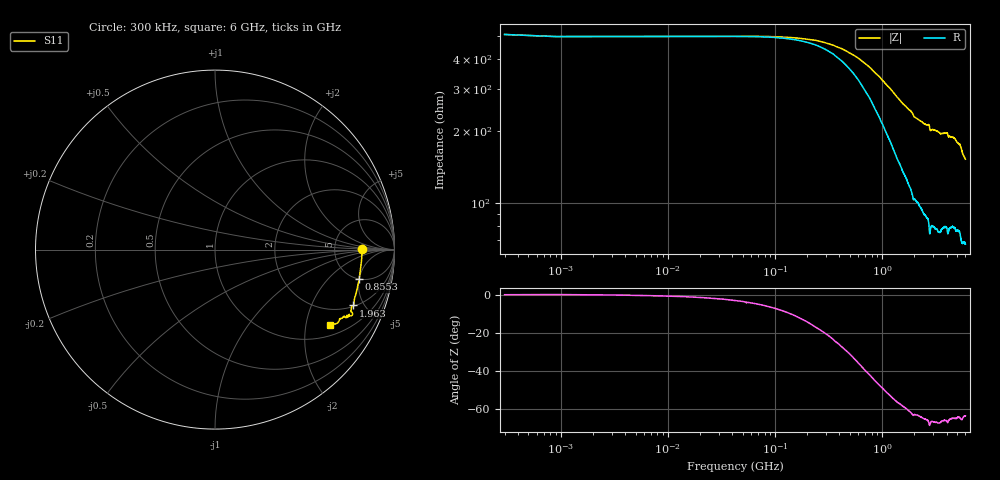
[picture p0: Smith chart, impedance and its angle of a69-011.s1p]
!  3/12/2021  06:13:34
! Ref Plane: 23.990 mm
# MHZ S MA R  50
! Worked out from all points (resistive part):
!   10001 points, 300 kHz to 6 GHz, reference 50 ohm
!   read as one part to ground: R = 499 ohm at 30.3 MHz
!   S11 on the Smith chart (normalised r, x): 300 kHz: 10, +0; 855.3 MHz: 4.97, -4.99; 1.963 GHz: 2.07, -4.16; 6 GHz: 1.34, -2.73
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0.3  0.8208 0.0
750.2625  0.8196 -10.3
855.2573  0.8196 -11.6
1104.245  0.821 -14.4
1500.225  0.8224 -18.2
1962.802  0.8307 -22.0
2017.399  0.8257 -22.3
2250.188  0.827 -23.2
2583.171  0.8308 -24.4
2697.765  0.8355 -24.6
2757.162  0.8459 -25.0
2804.56  0.8403 -26.1
2855.557  0.8306 -26.0
3000.15  0.8316 -25.8
3312.734  0.8333 -26.3
3497.525  0.8289 -26.9
3750.113  0.8226 -26.6
4011.699  0.8231 -26.5
4071.696  0.8284 -26.7
4125.094  0.8247 -27.3
4186.291  0.8173 -27.5
4500.075  0.8096 -27.4
4776.661  0.8068 -27.7
5250.038  0.7946 -29.1
5457.027  0.7974 -30.2
5633.418  0.7866 -31.8
5758.812  0.7749 -32.5
6000  0.7652 -33.4
